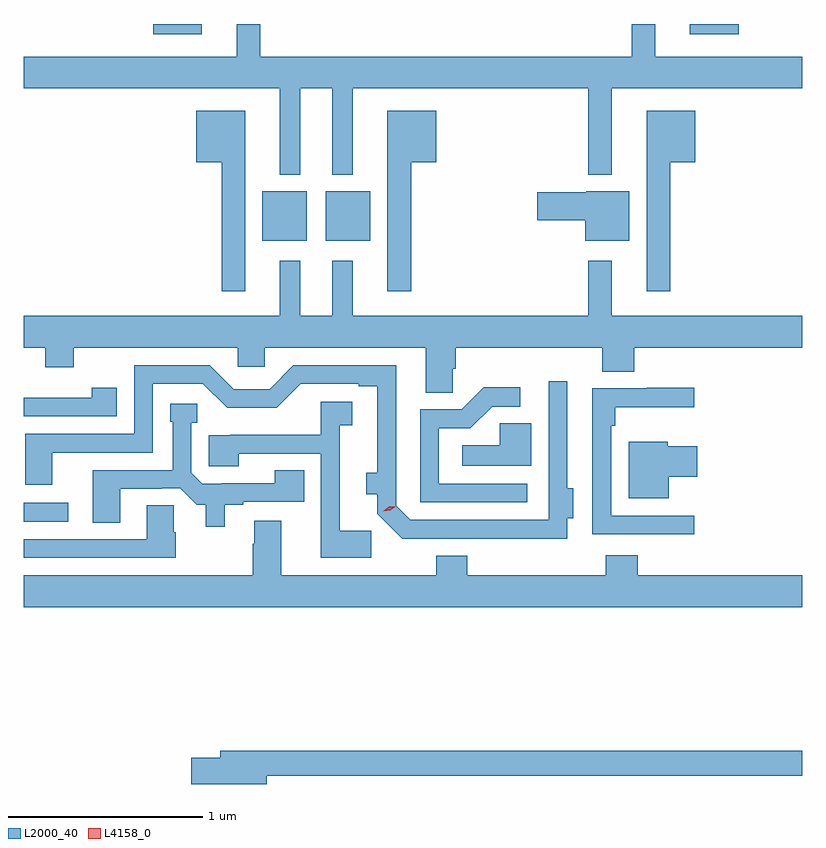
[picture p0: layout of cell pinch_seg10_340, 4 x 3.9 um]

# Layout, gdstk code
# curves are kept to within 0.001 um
import gdstk
lib = gdstk.Library(unit=1e-6, precision=1e-09)
def R(c, l, rs):  # rectangles x0, y0, x1, y1
    for r in rs: c.add(gdstk.rectangle(r[:2], r[2:], *l))
def P(c, l, *ps):  # polygons
    for p in ps: c.add(gdstk.Polygon(p, *l))
L2000_40 = (2000, 40)
L4158_0 = (4158, 0)

pinch_seg10_340 = lib.new_cell('pinch_seg10_340')
R(pinch_seg10_340, L2000_40, [(458.847,1252.803,459.076,1252.899), (460.073,1254.245,460.3,1254.499), (460.4,1254.245,460.627,1254.499), (459.512,1255.307,459.763,1255.359), (462.269,1255.307,462.52,1255.359)])
P(pinch_seg10_340, L2000_40, [(460.267,1255.028),(460.433,1255.028),(460.433,1254.584),(460.537,1254.584),(460.537,1255.028),(461.748,1255.028),(461.748,1254.584),(461.869,1254.584),(461.869,1255.028),(462.847,1255.028),(462.847,1255.192),(462.091,1255.192),(462.091,1255.359),(461.97,1255.359),(461.97,1255.192),(460.063,1255.192),(460.063,1255.359),(459.941,1255.359),(459.941,1255.192),(458.847,1255.192),(458.847,1255.028),(460.163,1255.028),(460.163,1254.584),(460.267,1254.584)],
  [(459.985,1254.913),(459.734,1254.913),(459.734,1254.65),(459.864,1254.65),(459.864,1253.985),(459.985,1253.985)],
  [(460.837,1254.65),(460.966,1254.65),(460.966,1254.913),(460.715,1254.913),(460.715,1253.985),(460.837,1253.985)],
  [(462.169,1254.65),(462.298,1254.65),(462.298,1254.913),(462.047,1254.913),(462.047,1253.985),(462.169,1253.985)],
  [(461.959,1254.499),(461.736,1254.499),(461.736,1254.494),(461.484,1254.494),(461.484,1254.352),(461.732,1254.352),(461.732,1254.245),(461.959,1254.245)],
  [(461.052,1253.587),(461.066,1253.587),(461.066,1253.696),(461.819,1253.696),(461.819,1253.572),(461.984,1253.572),(461.984,1253.696),(462.847,1253.696),(462.847,1253.86),(461.869,1253.86),(461.869,1254.142),(461.748,1254.142),(461.748,1253.86),(460.537,1253.86),(460.537,1254.142),(460.433,1254.142),(460.433,1253.86),(460.267,1253.86),(460.267,1254.142),(460.163,1254.142),(460.163,1253.86),(458.847,1253.86),(458.847,1253.696),(458.957,1253.696),(458.957,1253.597),(459.105,1253.597),(459.105,1253.696),(459.948,1253.696),(459.948,1253.598),(460.086,1253.598),(460.086,1253.696),(460.913,1253.696),(460.913,1253.464),(461.052,1253.464)],
  [(460.894,1252.716),(461.64,1252.715),(461.64,1252.82),(461.671,1252.82),(461.671,1252.973),(461.64,1252.973),(461.64,1253.524),(461.544,1253.524),(461.544,1252.812),(460.833,1252.812),(460.761,1252.884),(460.761,1253.607),(460.233,1253.607),(460.11,1253.484),(459.927,1253.484),(459.804,1253.607),(459.414,1253.607),(459.414,1253.253),(458.855,1253.253),(458.855,1252.992),(458.995,1252.992),(458.995,1253.157),(459.51,1253.157),(459.51,1253.511),(459.768,1253.511),(459.892,1253.387),(460.146,1253.387),(460.27,1253.511),(460.568,1253.511),(460.568,1253.499),(460.664,1253.499),(460.664,1253.053),(460.607,1253.053),(460.607,1252.943),(460.664,1252.943),(460.664,1252.844),(460.793,1252.715)],
  [(461.434,1252.998),(460.98,1252.998),(460.98,1253.283),(461.142,1253.283),(461.253,1253.394),(461.398,1253.394),(461.398,1253.492),(461.21,1253.492),(461.097,1253.379),(460.884,1253.379),(460.884,1252.902),(461.434,1252.902)],
  [(459.325,1253.491),(459.197,1253.491),(459.197,1253.44),(458.847,1253.44),(458.847,1253.343),(459.325,1253.343)],
  [(462.292,1252.833),(461.865,1252.833),(461.865,1253.294),(461.885,1253.294),(461.885,1253.39),(462.292,1253.39),(462.292,1253.491),(462.047,1253.491),(462.047,1253.487),(461.769,1253.487),(461.769,1252.737),(462.292,1252.737)],
  [(460.632,1252.755),(460.471,1252.755),(460.471,1253.298),(460.534,1253.298),(460.534,1253.419),(460.374,1253.419),(460.374,1253.248),(459.907,1253.248),(459.907,1253.247),(459.797,1253.247),(459.797,1253.086),(459.951,1253.086),(459.951,1253.151),(460.374,1253.151),(460.374,1252.616),(460.632,1252.616)],
  [(459.88,1252.89),(459.976,1252.89),(459.976,1252.905),(460.289,1252.905),(460.289,1253.066),(460.138,1253.066),(460.138,1253.001),(459.865,1253.001),(459.865,1252.998),(459.765,1252.998),(459.708,1253.055),(459.708,1253.311),(459.738,1253.311),(459.738,1253.409),(459.599,1253.409),(459.599,1253.316),(459.612,1253.316),(459.612,1253.067),(459.203,1253.067),(459.203,1252.798),(459.343,1252.798),(459.343,1252.971),(459.557,1252.971),(459.557,1252.974),(459.651,1252.974),(459.735,1252.89),(459.782,1252.89),(459.782,1252.776),(459.88,1252.776)],
  [(461.455,1253.309),(461.292,1253.309),(461.292,1253.194),(461.1,1253.194),(461.1,1253.09),(461.455,1253.09)],
  [(462.16,1253.033),(462.307,1253.033),(462.307,1253.191),(462.156,1253.191),(462.156,1253.212),(461.954,1253.212),(461.954,1252.922),(462.16,1252.922)],
  [(459.627,1252.749),(459.617,1252.749),(459.617,1252.886),(459.479,1252.886),(459.479,1252.713),(458.847,1252.713),(458.847,1252.617),(459.627,1252.617)],
  [(462.847,1252.528),(462.002,1252.528),(462.002,1252.63),(461.837,1252.63),(461.837,1252.528),(461.126,1252.528),(461.126,1252.627),(460.966,1252.627),(460.966,1252.528),(460.171,1252.528),(460.171,1252.807),(460.031,1252.807),(460.031,1252.688),(460.024,1252.688),(460.024,1252.528),(458.847,1252.528),(458.847,1252.364),(462.847,1252.364)],
  [(460.096,1251.498),(462.847,1251.498),(462.847,1251.626),(459.857,1251.626),(459.857,1251.59),(459.708,1251.59),(459.708,1251.455),(460.096,1251.455)])
P(pinch_seg10_340, L4158_0, [(460.693,1252.856),(460.693,1252.856),(460.693,1252.856),(460.723,1252.879),(460.76,1252.883),(460.76,1252.883),(460.76,1252.883),(460.73,1252.86)])

lib.write_gds('pinch_seg10_340.gds')
